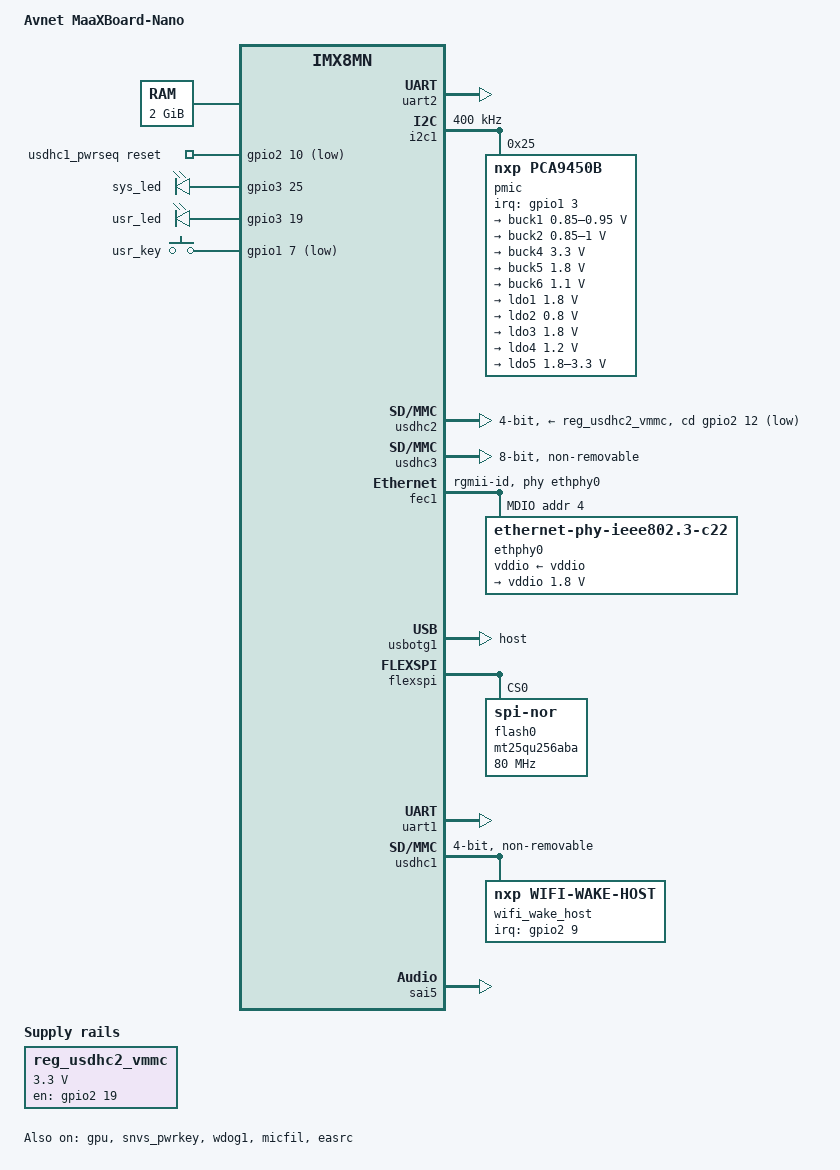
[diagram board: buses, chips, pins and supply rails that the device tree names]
// SPDX-License-Identifier: (GPL-2.0 OR MIT)
/*
 * Device Tree Source for the Avnet MaaXBoard-Mini (i.MX8M Nano: 4xCortex-A53 + Cortex-M7)
 *
 * Copyright (C) 2023 Avnet Corp.
 */


/dts-v1/;

#include <dt-bindings/usb/pd.h>
#include "imx8mn.dtsi"

/ {
	model = "Avnet MaaXBoard-Nano";
	compatible = "avnet,maaxboard-nano", "fsl,imx8mn";

	chosen {
		stdout-path = &uart2;
	};

	memory@40000000 {
		device_type = "memory";
		reg = <0x0 0x40000000 0 0x80000000>;
	};

	usdhc1_pwrseq: usdhc1_pwrseq {
		compatible = "mmc-pwrseq-simple";
		pinctrl-names = "default";
		pinctrl-0 = <&pinctrl_usdhc1_gpio>;
		reset-gpios = <&gpio2 10 GPIO_ACTIVE_LOW>;
	};

	reg_usdhc2_vmmc: regulator-usdhc2 {
		compatible = "regulator-fixed";
		pinctrl-names = "default";
		pinctrl-0 = <&pinctrl_reg_usdhc2_vmmc>;
		regulator-name = "VSD_3V3";
		regulator-min-microvolt = <3300000>;
		regulator-max-microvolt = <3300000>;
		gpio = <&gpio2 19 GPIO_ACTIVE_HIGH>;
		off-on-delay-us = <12000>;
		enable-active-high;
	};

	leds {
		compatible = "gpio-leds";
		pinctrl-names = "default";
		pinctrl-0 = <&pinctrl_gpio_leds>;
		status = "okay";

		sys_led {
				label = "sys_led";
				gpios = <&gpio3 25 0>;
				default-state = "on";
				linux,default-trigger = "heartbeat";
		};

		usr_led {
				label = "usr_led";
				gpios = <&gpio3 19 0>;
				default-state = "on";
		};
	};

	gpio_keys {
		compatible = "gpio-keys";
		pinctrl-names = "default";
		pinctrl-0 = <&pinctrl_gpio_keys>;

		usr {
			label = "usr_key";
			gpios = <&gpio1 7 GPIO_ACTIVE_LOW>;
			linux,code = <BTN_0>;
		};
	};

	sound-micfil {
		compatible = "fsl,imx-audio-card";
		model = "audio-micfil";
		pri-dai-link {
			link-name = "micfil hifi";
			cpu {
				sound-dai = <&micfil>;
			};
		};
	};

	cs4344: cs4344 {
		#sound-dai-cells = <0>;
		compatible = "cirrus,cs4344";
		clocks = <&clk IMX8MN_CLK_SAI5_ROOT>;
		clock-names = "mclk";
	};

	sound-cs4344 {
		compatible = "fsl,imx-audio-cs4344";
		model = "cs4344-audio";
		audio-cpu = <&sai5>;
		audio-codec = <&cs4344>;
		audio-asrc = <&easrc>;
		audio-routing =
			"Line Out Jack", "LINEVOUTL",
			"Line Out Jack", "LINEVOUTR";
	};

	/* MiPi LCD backlight */
	backlight: pwm-backlight {
			compatible = "pwm-backlight";
			pwms = <&pwm1 0 40000 0>;
			brightness-levels = <0 8 32 64 96 128 160 192 224 255>;
			default-brightness-level = <8>;
			enable-pwm-on;
			status = "disabled";
	};

};

/* CPU 4 cores */
&A53_0 {
	cpu-supply = <&buck2>;
};

&A53_1 {
	cpu-supply = <&buck2>;
};

&A53_2 {
	cpu-supply = <&buck2>;
};

&A53_3 {
	cpu-supply = <&buck2>;
};

&gpu {
	status= "okay";
};

&snvs_pwrkey {
	status = "okay";
};

/* Console serial */
&uart2 {
	pinctrl-names = "default";
	pinctrl-0 = <&pinctrl_uart2>;
	status = "okay";
};

/* PMIC */
&i2c1 {
	clock-frequency = <400000>;
	pinctrl-names = "default";
	pinctrl-0 = <&pinctrl_i2c1>;
	status = "okay";

	pmic: pmic@25 {
		compatible = "nxp,pca9450b";
		reg = <0x25>;
		pinctrl-names = "default";
		pinctrl-0 = <&pinctrl_pmic>;
		interrupt-parent = <&gpio1>;
		interrupts = <3 IRQ_TYPE_LEVEL_LOW>;

		regulators {
			buck1: BUCK1{
				regulator-name = "VDD_SOC";
				regulator-min-microvolt = <850000>;
				regulator-max-microvolt = <950000>;
				regulator-boot-on;
				regulator-always-on;
				regulator-ramp-delay = <3125>;
				nxp,dvs-run-voltage = <950000>;
				nxp,dvs-standby-voltage = <750000>;
			};

			buck2: BUCK2 {
				regulator-name = "VDD_ARM_0V9";
				regulator-min-microvolt = <850000>;
				regulator-max-microvolt = <1000000>;
				regulator-boot-on;
				regulator-always-on;
				regulator-ramp-delay = <3125>;
			};

			buck4: BUCK4{
				regulator-name = "VDD_3V3";
				regulator-min-microvolt = <3300000>;
				regulator-max-microvolt = <3300000>;
				regulator-boot-on;
				regulator-always-on;
			};

			buck5: BUCK5{
				regulator-name = "VDD_1V8";
				regulator-min-microvolt = <1800000>;
				regulator-max-microvolt = <1800000>;
				regulator-boot-on;
				regulator-always-on;
			};

			buck6: BUCK6 {
				regulator-name = "NVCC_DRAM_1V1";
				regulator-min-microvolt = <1100000>;
				regulator-max-microvolt = <1100000>;
				regulator-boot-on;
				regulator-always-on;
			};

			ldo1: LDO1 {
				regulator-name = "NVCC_SNVS_1V8";
				regulator-min-microvolt = <1800000>;
				regulator-max-microvolt = <1800000>;
				regulator-boot-on;
				regulator-always-on;
			};

			ldo2: LDO2 {
				regulator-name = "VDD_SNVS_0V8";
				regulator-min-microvolt = <800000>;
				regulator-max-microvolt = <800000>;
				regulator-boot-on;
				regulator-always-on;
			};

			ldo3: LDO3 {
				regulator-name = "VDDA_1V8";
				regulator-min-microvolt = <1800000>;
				regulator-max-microvolt = <1800000>;
				regulator-boot-on;
				regulator-always-on;
			};

			ldo4: LDO4 {
				regulator-name = "VDD_PHY_1V2";
				regulator-min-microvolt = <1200000>;
				regulator-max-microvolt = <1200000>;
				regulator-boot-on;
				regulator-always-on;
			};

			ldo5: LDO5 {
				regulator-name = "NVCC_SD2";
				regulator-min-microvolt = <1800000>;
				regulator-max-microvolt = <3300000>;
				regulator-boot-on;
				regulator-always-on;
			};
		};
	};
};

/* SD card */
&usdhc2 {
	assigned-clocks = <&clk IMX8MN_CLK_USDHC2>;
	assigned-clock-rates = <200000000>;
	pinctrl-names = "default", "state_100mhz", "state_200mhz";
	pinctrl-0 = <&pinctrl_usdhc2>, <&pinctrl_usdhc2_gpio>;
	pinctrl-1 = <&pinctrl_usdhc2_100mhz>, <&pinctrl_usdhc2_gpio>;
	pinctrl-2 = <&pinctrl_usdhc2_200mhz>, <&pinctrl_usdhc2_gpio>;
	cd-gpios = <&gpio2 12 GPIO_ACTIVE_LOW>;
	bus-width = <4>;
	vmmc-supply = <&reg_usdhc2_vmmc>;
	no-1-8-v;
	status = "okay";
};

/* eMMC */
&usdhc3 {
	assigned-clocks = <&clk IMX8MN_CLK_USDHC3_ROOT>;
	assigned-clock-rates = <400000000>;
	pinctrl-names = "default", "state_100mhz", "state_200mhz";
	pinctrl-0 = <&pinctrl_usdhc3>;
	pinctrl-1 = <&pinctrl_usdhc3_100mhz>;
	pinctrl-2 = <&pinctrl_usdhc3_200mhz>;
	bus-width = <8>;
	non-removable;
	status = "okay";
};

/* Ethernet */
&fec1 {
	pinctrl-names = "default";
	pinctrl-0 = <&pinctrl_fec1>;
	phy-mode = "rgmii-id";
	phy-handle = <&ethphy0>;
	fsl,magic-packet;
	status = "okay";

	mdio {
		#address-cells = <1>;
		#size-cells = <0>;

		ethphy0: ethernet-phy@4 {
			compatible = "ethernet-phy-ieee802.3-c22";
			reg = <4>;
			realtek,aldps-enable;
			realtek,clkout-disable;
			qca,disable-smarteee;
			vddio-supply = <&vddio>;

			vddio: vddio-regulator {
				regulator-min-microvolt = <1800000>;
				regulator-max-microvolt = <1800000>;
			};
		};
	};
};

&wdog1 {
	pinctrl-names = "default";
	pinctrl-0 = <&pinctrl_wdog>;
	fsl,ext-reset-output;
	status = "okay";
};

/*USB2.0 Host */
&usbotg1 {
	dr_mode = "host";
	hnp-disable;
	srp-disable;
	adp-disable;
	usb-role-switch;
	disable-over-current;
	samsung,picophy-pre-emp-curr-control = <3>;
	samsung,picophy-dc-vol-level-adjust = <7>;
	status = "okay";
};

&flexspi {
	pinctrl-names = "default";
	pinctrl-0 = <&pinctrl_flexspi0>;
	status = "okay";

	flash0: mt25qu256aba@0 {
		reg = <0>;
		#address-cells = <1>;
		#size-cells = <1>;
		compatible = "jedec,spi-nor";
		spi-max-frequency = <80000000>;
		spi-tx-bus-width = <4>;
		spi-rx-bus-width = <4>;
	};
};

/* BT */
&uart1 {
	pinctrl-names = "default";
	pinctrl-0 = <&pinctrl_uart1>;
	assigned-clocks = <&clk IMX8MN_CLK_UART1>;
	assigned-clock-parents = <&clk IMX8MN_SYS_PLL1_80M>;
	fsl,uart-has-rtscts;
	status = "okay";
};

/* wifi */
&usdhc1 {
	#address-cells = <1>;
	#size-cells = <0>;
	pinctrl-names = "default", "state_100mhz", "state_200mhz";
	pinctrl-0 = <&pinctrl_usdhc1>;
	pinctrl-1 = <&pinctrl_usdhc1_100mhz>;
	pinctrl-2 = <&pinctrl_usdhc1_200mhz>;
	bus-width = <4>;
	max-frequency = <25000000>;
	keep-power-in-suspend;
	non-removable;
	wakeup-source;
	fsl,sdio-async-interrupt-enabled;
	/delete-property/ vmmc-supply;
	mmc-pwrseq = <&usdhc1_pwrseq>;
	status = "okay";

	wifi_wake_host {
		compatible = "nxp,wifi-wake-host";
		interrupt-parent = <&gpio2>;
		interrupts = <9 IRQ_TYPE_LEVEL_LOW>;
		interrupt-names = "host-wake";
	};
};

&micfil {
	#sound-dai-cells = <0>;
	pinctrl-names = "default";
	pinctrl-0 = <&pinctrl_pdm>;
	assigned-clocks = <&clk IMX8MN_CLK_PDM>;
	assigned-clock-parents = <&clk IMX8MN_AUDIO_PLL1_OUT>;
	assigned-clock-rates = <196608000>;
	status = "okay";
};

&sai5 {
	pinctrl-names = "default";
	pinctrl-0 = <&pinctrl_sai5>;
	assigned-clocks = <&clk IMX8MN_CLK_SAI5>;
	assigned-clock-parents = <&clk IMX8MN_AUDIO_PLL1_OUT>;
	assigned-clock-rates = <12288000>;
	fsl,sai-mclk-direction-output;
	status = "okay";
};

&easrc {
	#sound-dai-cells = <0>;
	fsl,asrc-rate = <48000>;
	status = "okay";
};

/* MIPI-DSI LCD and Touch Screen */
&pwm1 {
        pinctrl-names = "default";
        pinctrl-0 = <&pinctrl_pwm1>;
        status = "disabled";
};

&lcdif {
	status = "disabled";
	max-memory-bandwidth = <221257728>; /* 720x1280-32@60.02 */
};

&i2c4 {
	clock-frequency = <400000>;
	pinctrl-names = "default";
	pinctrl-0 = <&pinctrl_i2c4>;
	status = "disabled";

	/* For Avnet PH720128T003 LCD display */
	ft5426: ft5426_ts@38 {
		status = "disabled";
		compatible = "focaltech,fts";
		reg = <0x38>;
		pinctrl-names = "default";
		pinctrl-0 = <&pinctrl_ts>;
		interrupt-parent = <&gpio1>;
		interrupts = <11 IRQ_TYPE_EDGE_FALLING>;
		focaltech,irq-gpio = <&gpio1 11 GPIO_ACTIVE_LOW>;
		focaltech,reset-gpio = <&gpio1 12 GPIO_ACTIVE_LOW>;
		focaltech,max-touch-number = <10>;
		focaltech,panel-type = <0x54260002>; /*_FT5426 */
		focaltech,display-coords =  <0 0 720 1280>;
		focaltech,have-key;
		focaltech,key-number = <3>;
		focaltech,keys = <139 102 158>;
		focaltech,key-y-coord = <2000>;
		focaltech,key-x-coords = <200 600 800>;
	};

	/* For Avnet PH720128T005 LCD display */
	gt911: gt911_ts@14 {
		status = "disabled";
		compatible = "goodix,gt911";
		reg = <0x14>;
		pinctrl-names = "default";
		pinctrl-0 = <&pinctrl_ts>;
		interrupt-parent = <&gpio1>;
		interrupts = <11 IRQ_TYPE_EDGE_FALLING>;
		irq-gpios = <&gpio1 11 GPIO_ACTIVE_HIGH>;
		reset-gpios = <&gpio1 12 GPIO_ACTIVE_HIGH>;
		touchscreen-size-x = <720>;
		touchscreen-size-y = <1280>;
		edge-failling-trigger;
	};
};

&mipi_csi_1 {
	status = "disabled";
};

&cameradev {	
	status = "disabled";
};

&isi_0 {
	status = "disabled";

	cap_device {
		status = "disabled";
	};
};

&iomuxc {
	pinctrl_fec1: fec1grp {
		fsl,pins = <
			MX8MN_IOMUXC_ENET_MDC_ENET1_MDC		0x3
			MX8MN_IOMUXC_ENET_MDIO_ENET1_MDIO	0x3
			MX8MN_IOMUXC_ENET_TD3_ENET1_RGMII_TD3	0x1f
			MX8MN_IOMUXC_ENET_TD2_ENET1_RGMII_TD2	0x1f
			MX8MN_IOMUXC_ENET_TD1_ENET1_RGMII_TD1	0x1f
			MX8MN_IOMUXC_ENET_TD0_ENET1_RGMII_TD0	0x1f
			MX8MN_IOMUXC_ENET_RD3_ENET1_RGMII_RD3	0x91
			MX8MN_IOMUXC_ENET_RD2_ENET1_RGMII_RD2	0x91
			MX8MN_IOMUXC_ENET_RD1_ENET1_RGMII_RD1	0x91
			MX8MN_IOMUXC_ENET_RD0_ENET1_RGMII_RD0	0x91
			MX8MN_IOMUXC_ENET_TXC_ENET1_RGMII_TXC	0x1f
			MX8MN_IOMUXC_ENET_RXC_ENET1_RGMII_RXC	0x91
			MX8MN_IOMUXC_ENET_RX_CTL_ENET1_RGMII_RX_CTL 0x91
			MX8MN_IOMUXC_ENET_TX_CTL_ENET1_RGMII_TX_CTL 0x1f
		>;
	};

	pinctrl_i2c1: i2c1grp {
		fsl,pins = <
			MX8MN_IOMUXC_I2C1_SCL_I2C1_SCL		0x400001c3
			MX8MN_IOMUXC_I2C1_SDA_I2C1_SDA		0x400001c3
		>;
	};

	pinctrl_pmic: pmicirqgrp {
		fsl,pins = <
			MX8MN_IOMUXC_GPIO1_IO03_GPIO1_IO3	0x141
		>;
	};

	pinctrl_reg_usdhc2_vmmc: regusdhc2vmmcgrp {
		fsl,pins = <
			MX8MN_IOMUXC_SD2_RESET_B_GPIO2_IO19 0x41
		>;
	};

	pinctrl_uart1: uart1grp {
		fsl,pins = <
			MX8MN_IOMUXC_UART1_RXD_UART1_DCE_RX	0x140
			MX8MN_IOMUXC_UART1_TXD_UART1_DCE_TX	0x140
			MX8MN_IOMUXC_UART3_RXD_UART1_DCE_CTS_B	0x140
			MX8MN_IOMUXC_UART3_TXD_UART1_DCE_RTS_B	0x140
		>;
	};

	pinctrl_uart2: uart2grp {
		fsl,pins = <
			MX8MN_IOMUXC_UART2_RXD_UART2_DCE_RX 0x140
			MX8MN_IOMUXC_UART2_TXD_UART2_DCE_TX 0x140
		>;
	};

	pinctrl_usdhc1_gpio: usdhc1grpgpio {
		fsl,pins = <
			MX8MN_IOMUXC_SD1_RESET_B_GPIO2_IO10	0x41
		>;
	};

	pinctrl_usdhc1: usdhc1grp {
		fsl,pins = <
			MX8MN_IOMUXC_SD1_CLK_USDHC1_CLK		0x190
			MX8MN_IOMUXC_SD1_CMD_USDHC1_CMD		0x1d0
			MX8MN_IOMUXC_SD1_DATA0_USDHC1_DATA0	0x1d0
			MX8MN_IOMUXC_SD1_DATA1_USDHC1_DATA1	0x1d0
			MX8MN_IOMUXC_SD1_DATA2_USDHC1_DATA2	0x1d0
			MX8MN_IOMUXC_SD1_DATA3_USDHC1_DATA3	0x1d0
		>;
	};

	pinctrl_usdhc1_100mhz: usdhc1grp100mhz {
		fsl,pins = <
			MX8MN_IOMUXC_SD1_CLK_USDHC1_CLK		0x194
			MX8MN_IOMUXC_SD1_CMD_USDHC1_CMD		0x1d4
			MX8MN_IOMUXC_SD1_DATA0_USDHC1_DATA0	0x1d4
			MX8MN_IOMUXC_SD1_DATA1_USDHC1_DATA1	0x1d4
			MX8MN_IOMUXC_SD1_DATA2_USDHC1_DATA2	0x1d4
			MX8MN_IOMUXC_SD1_DATA3_USDHC1_DATA3	0x1d4
		>;
	};

	pinctrl_usdhc1_200mhz: usdhc1grp200mhz {
		fsl,pins = <
			MX8MN_IOMUXC_SD1_CLK_USDHC1_CLK		0x196
			MX8MN_IOMUXC_SD1_CMD_USDHC1_CMD		0x1d6
			MX8MN_IOMUXC_SD1_DATA0_USDHC1_DATA0	0x1d6
			MX8MN_IOMUXC_SD1_DATA1_USDHC1_DATA1	0x1d6
			MX8MN_IOMUXC_SD1_DATA2_USDHC1_DATA2	0x1d6
			MX8MN_IOMUXC_SD1_DATA3_USDHC1_DATA3	0x1d6
		>;
	};

	pinctrl_usdhc2_gpio: usdhc2gpiogrp {
		fsl,pins = <
			MX8MN_IOMUXC_SD2_CD_B_GPIO2_IO12	0x1c4
		>;
	};

	pinctrl_usdhc2: usdhc2grp {
		fsl,pins = <
			MX8MN_IOMUXC_SD2_CLK_USDHC2_CLK		0x190
			MX8MN_IOMUXC_SD2_CMD_USDHC2_CMD		0x1d0
			MX8MN_IOMUXC_SD2_DATA0_USDHC2_DATA0 0x1d0
			MX8MN_IOMUXC_SD2_DATA1_USDHC2_DATA1 0x1d0
			MX8MN_IOMUXC_SD2_DATA2_USDHC2_DATA2 0x1d0
			MX8MN_IOMUXC_SD2_DATA3_USDHC2_DATA3 0x1d0
			MX8MN_IOMUXC_GPIO1_IO04_USDHC2_VSELECT	0x1d0
		>;
	};

	pinctrl_usdhc2_100mhz: usdhc2-100mhzgrp {
		fsl,pins = <
			MX8MN_IOMUXC_SD2_CLK_USDHC2_CLK		0x194
			MX8MN_IOMUXC_SD2_CMD_USDHC2_CMD		0x1d4
			MX8MN_IOMUXC_SD2_DATA0_USDHC2_DATA0 0x1d4
			MX8MN_IOMUXC_SD2_DATA1_USDHC2_DATA1 0x1d4
			MX8MN_IOMUXC_SD2_DATA2_USDHC2_DATA2 0x1d4
			MX8MN_IOMUXC_SD2_DATA3_USDHC2_DATA3 0x1d4
			MX8MN_IOMUXC_GPIO1_IO04_USDHC2_VSELECT	0x1d0
		>;
	};

	pinctrl_usdhc2_200mhz: usdhc2-200mhzgrp {
		fsl,pins = <
			MX8MN_IOMUXC_SD2_CLK_USDHC2_CLK		0x196
			MX8MN_IOMUXC_SD2_CMD_USDHC2_CMD		0x1d6
			MX8MN_IOMUXC_SD2_DATA0_USDHC2_DATA0 0x1d6
			MX8MN_IOMUXC_SD2_DATA1_USDHC2_DATA1 0x1d6
			MX8MN_IOMUXC_SD2_DATA2_USDHC2_DATA2 0x1d6
			MX8MN_IOMUXC_SD2_DATA3_USDHC2_DATA3 0x1d6
			MX8MN_IOMUXC_GPIO1_IO04_USDHC2_VSELECT	0x1d0
		>;
	};

	pinctrl_usdhc3: usdhc3grp {
		fsl,pins = <
			MX8MN_IOMUXC_NAND_WE_B_USDHC3_CLK		0x40000190
			MX8MN_IOMUXC_NAND_WP_B_USDHC3_CMD		0x1d0
			MX8MN_IOMUXC_NAND_DATA04_USDHC3_DATA0		0x1d0
			MX8MN_IOMUXC_NAND_DATA05_USDHC3_DATA1		0x1d0
			MX8MN_IOMUXC_NAND_DATA06_USDHC3_DATA2		0x1d0
			MX8MN_IOMUXC_NAND_DATA07_USDHC3_DATA3		0x1d0
			MX8MN_IOMUXC_NAND_RE_B_USDHC3_DATA4		0x1d0
			MX8MN_IOMUXC_NAND_CE2_B_USDHC3_DATA5		0x1d0
			MX8MN_IOMUXC_NAND_CE3_B_USDHC3_DATA6		0x1d0
			MX8MN_IOMUXC_NAND_CLE_USDHC3_DATA7		0x1d0
			MX8MN_IOMUXC_NAND_CE1_B_USDHC3_STROBE		0x190
		>;
	};

	pinctrl_usdhc3_100mhz: usdhc3-100mhzgrp {
		fsl,pins = <
			MX8MN_IOMUXC_NAND_WE_B_USDHC3_CLK		0x40000194
			MX8MN_IOMUXC_NAND_WP_B_USDHC3_CMD		0x1d4
			MX8MN_IOMUXC_NAND_DATA04_USDHC3_DATA0		0x1d4
			MX8MN_IOMUXC_NAND_DATA05_USDHC3_DATA1		0x1d4
			MX8MN_IOMUXC_NAND_DATA06_USDHC3_DATA2		0x1d4
			MX8MN_IOMUXC_NAND_DATA07_USDHC3_DATA3		0x1d4
			MX8MN_IOMUXC_NAND_RE_B_USDHC3_DATA4		0x1d4
			MX8MN_IOMUXC_NAND_CE2_B_USDHC3_DATA5		0x1d4
			MX8MN_IOMUXC_NAND_CE3_B_USDHC3_DATA6		0x1d4
			MX8MN_IOMUXC_NAND_CLE_USDHC3_DATA7		0x1d4
			MX8MN_IOMUXC_NAND_CE1_B_USDHC3_STROBE		0x194
		>;
	};

	pinctrl_usdhc3_200mhz: usdhc3-200mhzgrp {
		fsl,pins = <
			MX8MN_IOMUXC_NAND_WE_B_USDHC3_CLK		0x40000196
			MX8MN_IOMUXC_NAND_WP_B_USDHC3_CMD		0x1d6
			MX8MN_IOMUXC_NAND_DATA04_USDHC3_DATA0		0x1d6
			MX8MN_IOMUXC_NAND_DATA05_USDHC3_DATA1		0x1d6
			MX8MN_IOMUXC_NAND_DATA06_USDHC3_DATA2		0x1d6
			MX8MN_IOMUXC_NAND_DATA07_USDHC3_DATA3		0x1d6
			MX8MN_IOMUXC_NAND_RE_B_USDHC3_DATA4		0x1d6
			MX8MN_IOMUXC_NAND_CE2_B_USDHC3_DATA5		0x1d6
			MX8MN_IOMUXC_NAND_CE3_B_USDHC3_DATA6		0x1d6
			MX8MN_IOMUXC_NAND_CLE_USDHC3_DATA7		0x1d6
			MX8MN_IOMUXC_NAND_CE1_B_USDHC3_STROBE		0x196
		>;
	};

	pinctrl_wdog: wdoggrp {
		fsl,pins = <
			MX8MN_IOMUXC_GPIO1_IO02_WDOG1_WDOG_B		0x166
		>;
	};

	pinctrl_gpio_leds: gpio_ledsgrp {
		fsl,pins = <
			MX8MN_IOMUXC_SAI5_MCLK_GPIO3_IO25			0x19
			MX8MN_IOMUXC_SAI5_RXFS_GPIO3_IO19			0x19
		>;
	};

	pinctrl_gpio_keys: gpio_keysgrp {
		fsl,pins = <
			MX8MN_IOMUXC_GPIO1_IO07_GPIO1_IO7			0x144
		>;
	};

	pinctrl_flexspi0: flexspi0grp {
		fsl,pins = <
			MX8MN_IOMUXC_NAND_ALE_QSPI_A_SCLK           0x1c2
			MX8MN_IOMUXC_NAND_CE0_B_QSPI_A_SS0_B		0x82
			MX8MN_IOMUXC_NAND_DATA00_QSPI_A_DATA0		0x82
			MX8MN_IOMUXC_NAND_DATA01_QSPI_A_DATA1		0x82
			MX8MN_IOMUXC_NAND_DATA02_QSPI_A_DATA2		0x82
			MX8MN_IOMUXC_NAND_DATA03_QSPI_A_DATA3		0x82
		>;
	};

	pinctrl_pdm: pdmgrp {
		fsl,pins = <
			MX8MN_IOMUXC_SAI5_RXC_PDM_CLK				0xd6
			MX8MN_IOMUXC_SAI5_RXD0_PDM_BIT_STREAM0		0xd6
			MX8MN_IOMUXC_SAI5_RXD1_PDM_BIT_STREAM1		0xd6
		>;
	};

	pinctrl_sai5: sai5grp {
		fsl,pins = <
			MX8MN_IOMUXC_SAI2_MCLK_SAI5_MCLK		0xd6
			MX8MN_IOMUXC_SAI2_RXFS_SAI5_TX_SYNC		0xd6
			MX8MN_IOMUXC_SAI2_RXC_SAI5_TX_BCLK		0xd6
			MX8MN_IOMUXC_ECSPI2_MOSI_SAI5_TX_DATA0	0xd6
		>;
	};

	/* MIPI-DSI LCD and Touch Screen */
	pinctrl_pwm1: pwm1_grp {
		fsl,pins = <
			MX8MN_IOMUXC_GPIO1_IO08_PWM1_OUT			0x06
		>;
	};

	pinctrl_ts: ts_pinsgrp {
		fsl,pins = <
			MX8MN_IOMUXC_GPIO1_IO11_GPIO1_IO11			0x19  /* DSI_TS_nINT */
			MX8MN_IOMUXC_GPIO1_IO12_GPIO1_IO12			0x19  /* DSI_TS_RST  */
		>;
	};

	pinctrl_i2c4: i2c4grp {
		fsl,pins = <
			MX8MN_IOMUXC_I2C4_SCL_I2C4_SCL				0x400001c3
			MX8MN_IOMUXC_I2C4_SDA_I2C4_SDA				0x400001c3
		>;
	};

	/* MIPI-CSI2 Camera */
	pinctrl_csi1: csi1grp {
		fsl,pins = <
			MX8MN_IOMUXC_GPIO1_IO05_GPIO1_IO5			0x19
			MX8MN_IOMUXC_GPIO1_IO06_GPIO1_IO6			0x19
		>;
	};	
};

